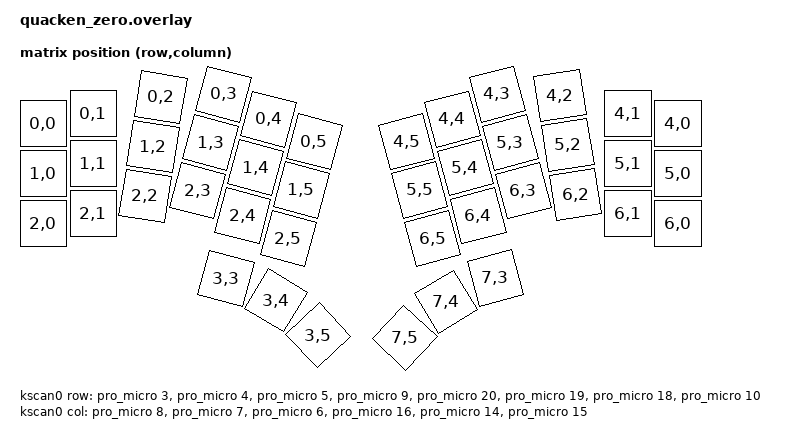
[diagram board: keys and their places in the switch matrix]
#include <dt-bindings/zmk/matrix_transform.h>
#include <physical_layouts.dtsi>

/ {
    chosen {
        zmk,physical-layout = &physical_layout0;
    };

    default_transform: keymap_transform_0 {
        compatible = "zmk,matrix-transform";
        columns = <6>;
        rows = <8>;
        map = <
RC(0,0) RC(0,1) RC(0,2) RC(0,3) RC(0,4) RC(0,5)  RC(4,5) RC(4,4) RC(4,3) RC(4,2) RC(4,1) RC(4,0)
RC(1,0) RC(1,1) RC(1,2) RC(1,3) RC(1,4) RC(1,5)  RC(5,5) RC(5,4) RC(5,3) RC(5,2) RC(5,1) RC(5,0)
RC(2,0) RC(2,1) RC(2,2) RC(2,3) RC(2,4) RC(2,5)  RC(6,5) RC(6,4) RC(6,3) RC(6,2) RC(6,1) RC(6,0)
                        RC(3,3) RC(3,4) RC(3,5)  RC(7,5) RC(7,4) RC(7,3)
        >;
    };

    kscan0: kscan {
        compatible = "zmk,kscan-gpio-matrix";
        diode-direction = "col2row";
        row-gpios
            = <&pro_micro  3 (GPIO_ACTIVE_HIGH | GPIO_PULL_DOWN)>
            , <&pro_micro  4 (GPIO_ACTIVE_HIGH | GPIO_PULL_DOWN)>
            , <&pro_micro  5 (GPIO_ACTIVE_HIGH | GPIO_PULL_DOWN)>
            , <&pro_micro  9 (GPIO_ACTIVE_HIGH | GPIO_PULL_DOWN)>
            , <&pro_micro 20 (GPIO_ACTIVE_HIGH | GPIO_PULL_DOWN)>
            , <&pro_micro 19 (GPIO_ACTIVE_HIGH | GPIO_PULL_DOWN)>
            , <&pro_micro 18 (GPIO_ACTIVE_HIGH | GPIO_PULL_DOWN)>
            , <&pro_micro 10 (GPIO_ACTIVE_HIGH | GPIO_PULL_DOWN)>
        ;

        col-gpios
            = <&pro_micro  8 GPIO_ACTIVE_HIGH>
            , <&pro_micro  7 GPIO_ACTIVE_HIGH>
            , <&pro_micro  6 GPIO_ACTIVE_HIGH>
            , <&pro_micro 16 GPIO_ACTIVE_HIGH>
            , <&pro_micro 14 GPIO_ACTIVE_HIGH>
            , <&pro_micro 15 GPIO_ACTIVE_HIGH>
        ;
    };

    physical_layout0: physical_layout_0 { // First physical layout, use different naming for other layouts
        compatible = "zmk,physical-layout";
        display-name = "Default Layout";
        kscan = <&kscan0>; // Label of the kscan node, optional if all layouts use the same
        transform = <&default_transform>; // Label of the matrix transform for this layout
        keys  //                     w   h    x    y     rot    rx    ry
            = <&key_physical_attrs 100 100    0  115      0      0     0>
            , <&key_physical_attrs 100 100  100   95      0      0     0>
            , <&key_physical_attrs 100 100  200   35    900    100   325>
            , <&key_physical_attrs 100 100  300    0   1500    170   310>
            , <&key_physical_attrs 100 100  400   25   1500    170   310>
            , <&key_physical_attrs 100 100  500   45   1500    170   310>

            , <&key_physical_attrs 100 100  770   45 (-1500)  1200   310>
            , <&key_physical_attrs 100 100  870   25 (-1500)  1200   310>
            , <&key_physical_attrs 100 100  970    0 (-1500)  1200   310>
            , <&key_physical_attrs 100 100 1070   35  (-900)  1250   325>
            , <&key_physical_attrs 100 100 1170   95      0      0     0>
            , <&key_physical_attrs 100 100 1270  115      0      0     0>

            , <&key_physical_attrs 100 100    0  215      0      0     0>
            , <&key_physical_attrs 100 100  100  195      0      0     0>
            , <&key_physical_attrs 100 100  200  135    900    100   325>
            , <&key_physical_attrs 100 100  300  100   1500    170   310>
            , <&key_physical_attrs 100 100  400  125   1500    170   310>
            , <&key_physical_attrs 100 100  500  145   1500    170   310>

            , <&key_physical_attrs 100 100  770  145 (-1500)  1200   310>
            , <&key_physical_attrs 100 100  870  125 (-1500)  1200   310>
            , <&key_physical_attrs 100 100  970  100 (-1500)  1200   310>
            , <&key_physical_attrs 100 100 1070  135  (-900)  1250   325>
            , <&key_physical_attrs 100 100 1170  195      0      0     0>
            , <&key_physical_attrs 100 100 1270  215      0      0     0>

            , <&key_physical_attrs 100 100    0  315      0      0     0>
            , <&key_physical_attrs 100 100  100  295      0      0     0>
            , <&key_physical_attrs 100 100  200  235    900    100   325>
            , <&key_physical_attrs 100 100  300  200   1500    170   310>
            , <&key_physical_attrs 100 100  400  225   1500    170   310>
            , <&key_physical_attrs 100 100  500  245   1500    170   310>

            , <&key_physical_attrs 100 100  770  245 (-1500)  1200   310>
            , <&key_physical_attrs 100 100  870  225 (-1500)  1200   310>
            , <&key_physical_attrs 100 100  970  200 (-1500)  1200   310>
            , <&key_physical_attrs 100 100 1070  235  (-900)  1250   325>
            , <&key_physical_attrs 100 100 1170  295      0      0     0>
            , <&key_physical_attrs 100 100 1270  315      0      0     0>

            , <&key_physical_attrs 100 100  400  355   1500    170   310>
            , <&key_physical_attrs 100 100  500  355   3100    330   400>
            , <&key_physical_attrs 100 100  600  355   4700    415   440>

            , <&key_physical_attrs 100 100  670  400 (-4700)   910   460>
            , <&key_physical_attrs 100 100  770  400 (-3100)   965   420>
            , <&key_physical_attrs 100 100  870  400 (-1500)  1025   330>
            ;
    };
};
